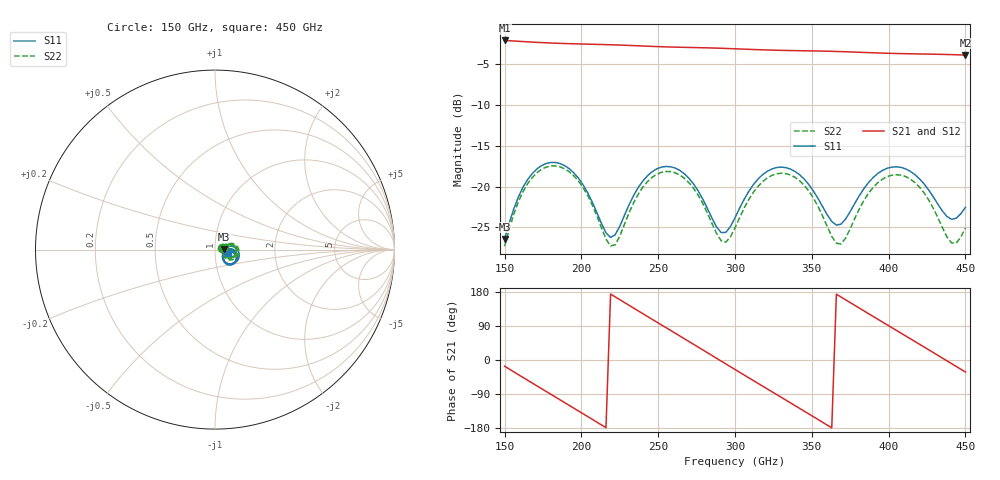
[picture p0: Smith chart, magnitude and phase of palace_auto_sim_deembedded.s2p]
! Created with skrf 1.11.0 (http://scikit-rf.org).
# GHz S DB R 50.0
!freq dBS11 angS11 dBS21 angS21 dBS12 angS12 dBS22 angS22
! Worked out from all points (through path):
!   101 points, 150 GHz to 450 GHz, reference 50 ohm
!   highest |S21| = -2.08 dB at 150 GHz (marker M1); lowest = -3.9 dB at 450 GHz (marker M2)
!   group delay of S21, straight-line fit = 6.81 ps
!   lowest |S11| = -26.4 dB at 150 GHz (marker M3), VSWR 1.10, Z = 55 + j0.424 ohm
!   |S11| at or under -10 dB: start of sweep to end of sweep
!   |S22| runs from -27.3 to -17.5 dB; largest |S21 - S12| = 1.2e-13
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150  -26.40 4.6  -2.08 -16.4  -2.08 -16.4  -27.29 15.4
162  -20.07 10.4  -2.22 -46.1  -2.22 -46.1  -20.61 22.7
177  -17.17 -12.3  -2.37 -82.9  -2.37 -82.9  -17.61 0.7
189  -17.41 -32.4  -2.46 -112.2  -2.46 -112.2  -17.80 -19.1
201  -19.75 -48.3  -2.52 -141.7  -2.52 -141.7  -20.09 -35.2
219  -26.22 -25.3  -2.61 174.0  -2.61 174.0  -27.27 -13.7
237  -20.10 1.3  -2.74 129.6  -2.74 129.6  -20.93 19.3
252  -17.61 -18.7  -2.85 92.9  -2.85 92.9  -18.25 -0.3
264  -18.00 -37.2  -2.91 63.5  -2.91 63.5  -18.57 -18.7
279  -21.52 -51.8  -2.98 26.7  -2.98 26.7  -22.05 -34.1
291  -25.63 -31.7  -3.04 -2.9  -3.04 -2.9  -26.64 -15.2
300  -23.81 -4.8  -3.10 -25.0  -3.10 -25.0  -25.04 15.4
315  -19.07 -7.3  -3.21 -61.7  -3.21 -61.7  -19.96 14.7
327  -17.66 -23.1  -3.28 -90.9  -3.28 -90.9  -18.43 -1.3
351  -20.52 -51.4  -3.37 -149.5  -3.37 -149.5  -21.38 -32.4
369  -24.59 -23.4  -3.45 166.3  -3.45 166.3  -27.02 -1.2
387  -19.48 -10.2  -3.57 122.2  -3.57 122.2  -20.80 18.3
402  -17.61 -27.6  -3.67 85.7  -3.67 85.7  -18.60 -0.9
414  -18.10 -43.1  -3.72 56.5  -3.72 56.5  -19.05 -18.5
429  -21.23 -53.1  -3.77 19.9  -3.77 19.9  -22.61 -32.6
441  -24.00 -34.8  -3.82 -9.6  -3.82 -9.6  -26.91 -11.9
450  -22.53 -15.8  -3.87 -31.6  -3.87 -31.6  -25.06 16.5
